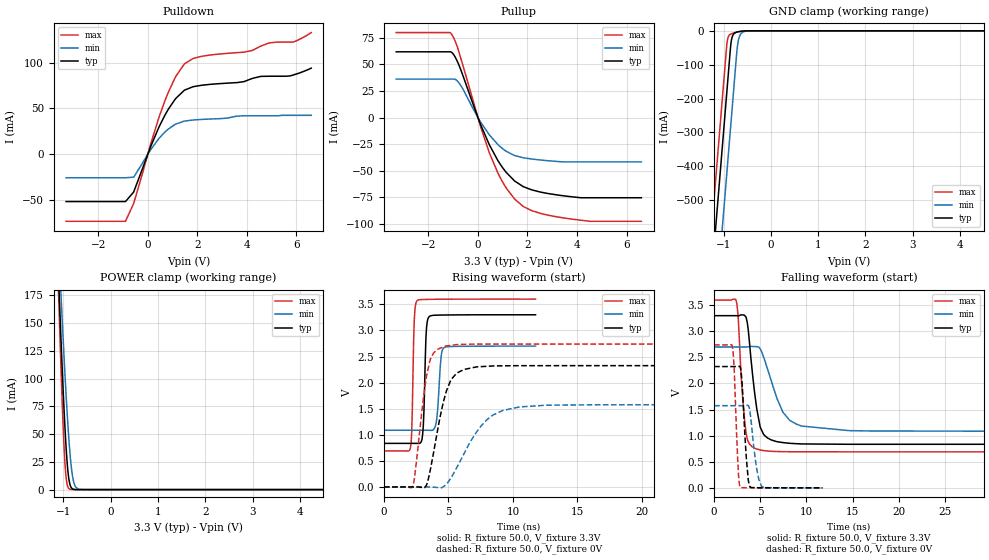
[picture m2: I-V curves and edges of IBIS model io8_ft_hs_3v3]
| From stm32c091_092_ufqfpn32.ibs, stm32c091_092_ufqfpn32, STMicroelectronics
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[Model]   io8_ft_hs_3v3
Model_type I/O
Polarity   Non-Inverting
Enable   Active-Low
| CAP_THRESHOLD on pad IOFT is "UDTCAPC" :
| Rising=30.0% of vddiom   Falling=70.0% of vddiom
| C_comp min and max val. don't necessarily correlate with the min and max pvt
| but are the smallest and greatest pad capacitance found.
| var   typ   min   max
C_comp   2.01495pF  1.96670pF  2.03942pF
|C_comp_pullup   1.19121pF  1.16147pF  1.16352pF
|C_comp_pulldown   823.73336fF  805.22622fF  875.89092fF
Vinl = 1.35V
Vinh = 1.8V
Vmeas = 1.65V   | Reference voltage for timing measurements
Cref  = 50.0pF   | Timing specification test load capacitance value
Rref  = 1.0MOhm   | Timing specification test load resistance value
Vref  = 1.815V   | Timing specification test load voltage
[Model Spec]
| TIME_THRESHOLD on pin ZIV12 is "CMOS" :
| Rising=50.0% of vdd   Falling=50.0% of vdd
Vinl 1.34770V 1.11370V 1.44970V
Vinh 1.77530V 1.49530V 1.90330V
| variable   typ   min   max
[Temperature Range] 25.0 125.0 -40.0
| variable   typ   min   max
[Voltage Range] 3.3V 2.7V 3.6V
| variable   typ   min   max
[POWER Clamp Reference] 3.3V 2.7V 3.6V
| variable   typ   min   max
[GND Clamp Reference] 0V 0V 0V
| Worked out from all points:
|   slope of the pulldown table from 0 to 0.495 V, typ, clamps not added: 15.4 ohm
|   slope of the pullup table from 0 to 0.495 V, typ, clamps not added: 18.2 ohm
|   GND clamp passes 1 mA (typ) near -0.60 V on its own axis
|   POWER clamp passes 1 mA (typ) near -0.81 V on its own axis
|   rising waveform, R_fixture 50.0, V_fixture 3.3V: 20-80 % time 169ps typ, 253ps min, 152ps max; typ from 0.835 V to 3.3 V
|   falling waveform, R_fixture 50.0, V_fixture 3.3V: 20-80 % time 997ps typ, 2.04ns min, 637ps max; typ from 3.3 V to 0.835 V
|   rising waveform, R_fixture 50.0, V_fixture 0V: 20-80 % time 1.17ns typ, 2.35ns min, 813ps max; typ from 0 V to 2.33 V
|   falling waveform, R_fixture 50.0, V_fixture 0V: 20-80 % time 463ps typ, 652ps min, 360ps max; typ from 2.33 V to 0 V
[POWER Clamp]
-3.3V     2.991A     2.543A     3.694A
-1.1V     191.1mA    222.7mA    177.1mA
-1.08V    169mA      204.2mA    149.9mA
-1.05V    136.9mA    176.9mA    110.9mA
-1.01V    96.55mA    141.6mA    64.02mA
-970mV    60.39mA    108.2mA    27.41mA
-930mV    31.08mA    77.43mA    7.282mA
-900mV    15.67mA    56.69mA    2.025mA
-860mV    4.779mA    33.42mA    315.2uA
-780mV    272.1uA    6.953mA    6.98uA
-670mV    4.467uA    374.2uA    36.58nA
6.6V      0A         0A         0A
[GND Clamp]
-3.3V     -4.209A    -4.449A    -4.067A
-1.25V    -724.3mA   -963.9mA   -582.3mA
-940mV    -197.3mA   -436.9mA   -55.31mA
-900mV    -129.3mA   -368.9mA   -18.05mA
-850mV    -45.25mA   -283.9mA   -9.777mA
-830mV    -25.62mA   -249.8mA   -8.529mA
-790mV    -10.15mA   -181.9mA   -6.665mA
-720mV    -3.762mA   -62.85mA   -4.025mA
-700mV    -3.047mA   -38.71mA   -3.371mA
-650mV    -1.786mA   -12.52mA   -1.967mA
-550mV    -403.5uA   -1.578mA   -350.4uA
6.6V      932.9pA    92.35nA    684.5pA
| variable   typ   min   max
[Pullup Reference] 3.3V 2.7V 3.6V
| variable   typ   min   max
[Pulldown Reference] 0V 0V 0V
[Pullup]
-3.3V     61.76mA    36.1mA     79.86mA
-1.07V    61.4mA     36.1mA     78.49mA
-890mV    55.55mA    35.52mA    70.12mA
-720mV    46.55mA    31.07mA    57.83mA
120mV     -7.358mA   -4.726mA   -9.588mA
460mV     -25.62mA   -16.31mA   -33.16mA
800mV     -40.27mA   -25.28mA   -51.87mA
1.12V     -50.97mA   -31.42mA   -65.49mA
1.83V     -65.01mA   -37.85mA   -83.65mA
2.51V     -70.03mA   -39.93mA   -90.06mA
3.88V     -74.77mA   -41.71mA   -95.78mA
6.6V      -75.45mA   -41.71mA   -97.6mA
[Pulldown]
-3.3V     -51.64mA   -25.66mA   -73.18mA
-900mV    -51.64mA   -25.66mA   -73.04mA
-570mV    -41.2mA    -25.04mA   -53.78mA
120mV     8.582mA    5.119mA    11.54mA
690mV     42.49mA    24.14mA    58.21mA
1.09V     59.44mA    32.3mA     82.71mA
1.48V     69.88mA    36.14mA    98.63mA
2.17V     75.22mA    37.94mA    106.8mA
3.88V     79.15mA    41.94mA    111.3mA
4.9V      85.07mA    41.94mA    121.4mA
5.88V     86.5mA     42.4mA     122.4mA
6.6V      93.9mA     42.4mA     132.7mA
[Ramp]
dV/dt_r 1.39473V/1.17478ns 945.1283mV/2.34817ns 1.6431V/813.31443ps
dV/dt_f 1.47905V/996.83399ps 968.1048mV/2.03852ns 1.7461V/636.85745ps
R_load = 50.0
| Removed startup time: 0s 0s 0s  .
| Removed end time: 11.75ns.
[Rising Waveform]
R_fixture   = 50.0
V_fixture   = 3.3V
V_fixture_min = 2.7V
V_fixture_max = 3.6V
0s        834.9mV    1.087V     689.8mV
2.05ns    834.9mV    1.087V     746.4mV
2.35ns    834.9mV    1.087V     3.197V
2.55ns    834.5mV    1.087V     3.566V
3ns       1.011V     1.087V     3.593V
3.25ns    2.838V     1.087V     3.594V
3.5ns     3.264V     1.085V     3.595V
4.05ns    3.292V     1.231V     3.597V
4.65ns    3.296V     2.668V     3.599V
11.75ns   3.3V       2.7V       3.6V
| Removed startup time: 0s 0s 0s  .
| Removed end time: 149.775ns.
[Falling Waveform]
R_fixture   = 50.0
V_fixture   = 3.3V
V_fixture_min = 2.7V
V_fixture_max = 3.6V
0s        3.3V       2.7V       3.6V
2.425ns   3.3V       2.7V       3.563V
2.6ns     3.3V       2.7V       3.298V
3ns       3.315V     2.7V       1.965V
3.45ns    3.276V     2.7V       1.076V
4.625ns   1.511V     2.706V     743.8mV
5.25ns    1.067V     2.561V     715.8mV
8.2ns     853.4mV    1.291V     691.7mV
14.6ns    834.7mV    1.097V     689.8mV
149.8ns   834.9mV    1.086V     689.8mV
| Removed startup time: 0s 0s 0s  .
| Removed end time: 149.75ns.
[Rising Waveform]
R_fixture   = 50.0
V_fixture   = 0V
V_fixture_min = 0V
V_fixture_max = 0V
0s        29.11nV    76.9nV     36.7nV
2.25ns    -759nV     2.893uV    19.15mV
3.3ns     34.14mV    67.13uV    2.127V
3.85ns    662.8mV    -4.195mV   2.568V
4.65ns    1.67V      12.61mV    2.688V
5.6ns     2.17V      352.3mV    2.728V
7.15ns    2.3V       1.042V     2.737V
8.4ns     2.318V     1.369V     2.738V
12.6ns    2.325V     1.567V     2.739V
149.8ns   2.325V     1.575V     2.738V
| Removed startup time: 0s 0s 0s  .
| Removed end time: 11.75ns.
[Falling Waveform]
R_fixture   = 50.0
V_fixture   = 0V
V_fixture_min = 0V
V_fixture_max = 0V
0s        2.325V     1.575V     2.739V
2ns       2.325V     1.575V     2.69V
2.2ns     2.325V     1.575V     2.187V
2.65ns    2.326V     1.575V     239.6mV
2.8ns     2.324V     1.575V     9.801mV
3.5ns     557.6mV    1.578V     1.869mV
3.85ns    33.25mV    1.498V     2.156mV
4.6ns     2.539mV    380mV      493.7uV
5.15ns    1.76mV     28.76mV    820.9uV
11.75ns   -148uV     36.56uV    508.4uV
